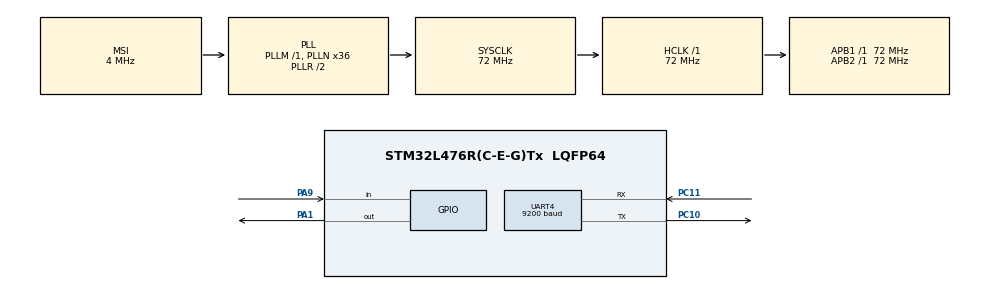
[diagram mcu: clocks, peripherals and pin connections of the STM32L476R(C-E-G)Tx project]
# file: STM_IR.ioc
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Mcu.Family=STM32L4
Mcu.Name=STM32L476R(C-E-G)Tx
Mcu.Package=LQFP64
NVIC.PriorityGroup=NVIC_PRIORITYGROUP_4
NVIC.TIM6_DAC_IRQn=true\:0\:0\:false\:false\:true\:true\:true
NVIC.UART4_IRQn=true\:0\:0\:false\:false\:true\:true\:true
PA1.Signal=GPIO_Output
PA9.Signal=GPIO_Input
PC10.Mode=Asynchronous
PC10.Signal=UART4_TX
PC11.Mode=Asynchronous
PC11.Signal=UART4_RX
PH0-OSC_IN\ (PH0).Mode=HSE-External-Oscillator
PH0-OSC_IN\ (PH0).Signal=RCC_OSC_IN
PH1-OSC_OUT\ (PH1).Mode=HSE-External-Oscillator
PH1-OSC_OUT\ (PH1).Signal=RCC_OSC_OUT
ProjectManager.HeapSize=0x200
ProjectManager.StackSize=0x400
ProjectManager.TargetToolchain=MDK-ARM V5.27
RCC.AHBFreq_Value=72000000
RCC.APB1Freq_Value=72000000
RCC.APB1TimFreq_Value=72000000
RCC.APB2Freq_Value=72000000
RCC.APB2TimFreq_Value=72000000
RCC.CortexFreq_Value=72000000
RCC.HCLKFreq_Value=72000000
RCC.HSE_VALUE=8000000
RCC.HSI_VALUE=16000000
RCC.LSE_VALUE=32768
RCC.MSI_VALUE=4000000
RCC.PLLN=36
RCC.SYSCLKFreq_VALUE=72000000
RCC.SYSCLKSource=RCC_SYSCLKSOURCE_PLLCLK
RCC.VCOOutputFreq_Value=144000000
TIM6.AutoReloadPreload=TIM_AUTORELOAD_PRELOAD_ENABLE
TIM6.Period=0
TIM6.Prescaler=7200
UART4.BaudRate=9200
VP_TIM6_VS_ClockSourceINT.Mode=Enable_Timer
board=custom

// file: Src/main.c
/* USER CODE BEGIN Header */
/**
  ******************************************************************************
  * @file           : main.c
  * @brief          : Main program body
  ******************************************************************************
  * @attention
  *
  * <h2><center>&copy; Copyright (c) 2020 STMicroelectronics.
  * All rights reserved.</center></h2>
  *
  * This software component is licensed by ST under BSD 3-Clause license,
  * the "License"; You may not use this file except in compliance with the
  * License. You may obtain a copy of the License at:
  *                        opensource.org/licenses/BSD-3-Clause
  *
  ******************************************************************************
  */
/* USER CODE END Header */

#include "main.h"

TIM_HandleTypeDef htim6;

UART_HandleTypeDef huart4;

/* USER CODE BEGIN PV */

void Delay_us_Timer(int input);

uint32_t Get_IR(void)
{
	int count = 0;
	uint32_t data;

	while  ( HAL_GPIO_ReadPin  ( GPIOA ,  GPIO_PIN_9 ));
	while  ( ! ( HAL_GPIO_ReadPin  ( GPIOA ,  GPIO_PIN_9 )));

	for (int i=0; i<32; i++)
	{
		count=0;
		while (!(HAL_GPIO_ReadPin (GPIOA, GPIO_PIN_9))); // wait for pin to go high.. this is 562.5us LOW

		while ((HAL_GPIO_ReadPin (GPIOA, GPIO_PIN_9)))  // count the space length while the pin is high
	 {
		count++;
		Delay_us_Timer(10);
	 }

	 if (count > 12) // if the space is more than 1.2 ms
	 {
		data |= (1UL << (31-i));   // write 1
	 }

	 else data &= ~(1UL << (31-i));  // write 0
	}
	return data;
}
/* USER CODE END PV */

void SystemClock_Config(void);
static void MX_GPIO_Init(void);
static void MX_UART4_Init(void);
static void MX_TIM6_Init(void);

/* USER CODE BEGIN 0 */

unsigned char RxBuffer[1];
int Pin_Status = 0;
uint32_t Timer_count;
uint32_t ReadIR;
/* USER CODE END 0 */

int main(void)
{

  /* MCU Configuration--------------------------------------------------------*/

  /* Reset of all peripherals, Initializes the Flash interface and the Systick. */
  HAL_Init();

  /* Configure the system clock */
  SystemClock_Config();

  /* Initialize all configured peripherals */
  MX_GPIO_Init();
  MX_UART4_Init();
  MX_TIM6_Init();
  /* USER CODE BEGIN 2 */
	HAL_TIM_Base_Start_IT(&htim6);
  /* USER CODE END 2 */

  /* Infinite loop */
  while (1)
  {

    /* USER CODE BEGIN 3 */
		ReadIR = Get_IR();
		HAL_GPIO_WritePin(GPIOA, GPIO_PIN_1, GPIO_PIN_SET);
		Delay_us_Timer(1000);
		HAL_GPIO_WritePin(GPIOA, GPIO_PIN_1, GPIO_PIN_RESET);
		ReadIR = 0;
  }
  /* USER CODE END 3 */
}

void HAL_TIM_PeriodElapsedCallback(TIM_HandleTypeDef *htim)
{
     if(htim -> Instance == TIM6)
     {
          Timer_count++;
     }
}

void Delay_us_Timer(int input)
{
	Timer_count = 0;
	while(input < Timer_count);
	Timer_count = 0;
}

void SystemClock_Config(void)
{
  RCC_OscInitTypeDef RCC_OscInitStruct = {0};
  RCC_ClkInitTypeDef RCC_ClkInitStruct = {0};
  RCC_PeriphCLKInitTypeDef PeriphClkInit = {0};

  /** Initializes the CPU, AHB and APB busses clocks
  */
  RCC_OscInitStruct.OscillatorType = RCC_OSCILLATORTYPE_MSI;
  RCC_OscInitStruct.MSIState = RCC_MSI_ON;
  RCC_OscInitStruct.MSICalibrationValue = 0;
  RCC_OscInitStruct.MSIClockRange = RCC_MSIRANGE_6;
  RCC_OscInitStruct.PLL.PLLState = RCC_PLL_ON;
  RCC_OscInitStruct.PLL.PLLSource = RCC_PLLSOURCE_MSI;
  RCC_OscInitStruct.PLL.PLLM = 1;
  RCC_OscInitStruct.PLL.PLLN = 36;
  RCC_OscInitStruct.PLL.PLLP = RCC_PLLP_DIV7;
  RCC_OscInitStruct.PLL.PLLQ = RCC_PLLQ_DIV2;
  RCC_OscInitStruct.PLL.PLLR = RCC_PLLR_DIV2;
  if (HAL_RCC_OscConfig(&RCC_OscInitStruct) != HAL_OK)
  {
    Error_Handler();
  }
  /** Initializes the CPU, AHB and APB busses clocks
  */
  RCC_ClkInitStruct.ClockType = RCC_CLOCKTYPE_HCLK|RCC_CLOCKTYPE_SYSCLK
                              |RCC_CLOCKTYPE_PCLK1|RCC_CLOCKTYPE_PCLK2;
  RCC_ClkInitStruct.SYSCLKSource = RCC_SYSCLKSOURCE_PLLCLK;
  RCC_ClkInitStruct.AHBCLKDivider = RCC_SYSCLK_DIV1;
  RCC_ClkInitStruct.APB1CLKDivider = RCC_HCLK_DIV1;
  RCC_ClkInitStruct.APB2CLKDivider = RCC_HCLK_DIV1;

  if (HAL_RCC_ClockConfig(&RCC_ClkInitStruct, FLASH_LATENCY_4) != HAL_OK)
  {
    Error_Handler();
  }
  PeriphClkInit.PeriphClockSelection = RCC_PERIPHCLK_UART4;
  PeriphClkInit.Uart4ClockSelection = RCC_UART4CLKSOURCE_PCLK1;
  if (HAL_RCCEx_PeriphCLKConfig(&PeriphClkInit) != HAL_OK)
  {
    Error_Handler();
  }
  /** Configure the main internal regulator output voltage
  */
  if (HAL_PWREx_ControlVoltageScaling(PWR_REGULATOR_VOLTAGE_SCALE1) != HAL_OK)
  {
    Error_Handler();
  }
}

static void MX_TIM6_Init(void)
{

  TIM_MasterConfigTypeDef sMasterConfig = {0};

  htim6.Instance = TIM6;
  htim6.Init.Prescaler = 7200;
  htim6.Init.CounterMode = TIM_COUNTERMODE_UP;
  htim6.Init.Period = 0;
  htim6.Init.AutoReloadPreload = TIM_AUTORELOAD_PRELOAD_ENABLE;
  if (HAL_TIM_Base_Init(&htim6) != HAL_OK)
  {
    Error_Handler();
  }
  sMasterConfig.MasterOutputTrigger = TIM_TRGO_RESET;
  sMasterConfig.MasterSlaveMode = TIM_MASTERSLAVEMODE_DISABLE;
  if (HAL_TIMEx_MasterConfigSynchronization(&htim6, &sMasterConfig) != HAL_OK)
  {
    Error_Handler();
  }

}

static void MX_UART4_Init(void)
{

  huart4.Instance = UART4;
  huart4.Init.BaudRate = 9200;
  huart4.Init.WordLength = UART_WORDLENGTH_8B;
  huart4.Init.StopBits = UART_STOPBITS_1;
  huart4.Init.Parity = UART_PARITY_NONE;
  huart4.Init.Mode = UART_MODE_TX_RX;
  huart4.Init.HwFlowCtl = UART_HWCONTROL_NONE;
  huart4.Init.OverSampling = UART_OVERSAMPLING_16;
  huart4.Init.OneBitSampling = UART_ONE_BIT_SAMPLE_DISABLE;
  huart4.AdvancedInit.AdvFeatureInit = UART_ADVFEATURE_NO_INIT;
  if (HAL_UART_Init(&huart4) != HAL_OK)
  {
    Error_Handler();
  }

}

static void MX_GPIO_Init(void)
{
  GPIO_InitTypeDef GPIO_InitStruct = {0};

  /* GPIO Ports Clock Enable */
  __HAL_RCC_GPIOH_CLK_ENABLE();
  __HAL_RCC_GPIOA_CLK_ENABLE();
  __HAL_RCC_GPIOC_CLK_ENABLE();

  /*Configure GPIO pin Output Level */
  HAL_GPIO_WritePin(GPIOA, GPIO_PIN_1, GPIO_PIN_RESET);

  /*Configure GPIO pin : PA1 */
  GPIO_InitStruct.Pin = GPIO_PIN_1;
  GPIO_InitStruct.Mode = GPIO_MODE_OUTPUT_PP;
  GPIO_InitStruct.Pull = GPIO_NOPULL;
  GPIO_InitStruct.Speed = GPIO_SPEED_FREQ_LOW;
  HAL_GPIO_Init(GPIOA, &GPIO_InitStruct);

  /*Configure GPIO pin : PA9 */
  GPIO_InitStruct.Pin = GPIO_PIN_9;
  GPIO_InitStruct.Mode = GPIO_MODE_INPUT;
  GPIO_InitStruct.Pull = GPIO_NOPULL;
  HAL_GPIO_Init(GPIOA, &GPIO_InitStruct);

}

void Error_Handler(void)
{
}

/************************ (C) COPYRIGHT STMicroelectronics *****END OF FILE****/
